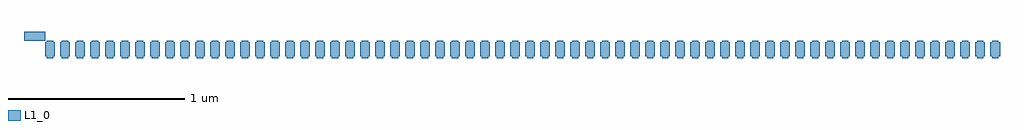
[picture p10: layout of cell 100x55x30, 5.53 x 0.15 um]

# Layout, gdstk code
import gdstk
lib = gdstk.Library(unit=1e-6, precision=1e-09)
def R(c, l, rs):  # rectangles x0, y0, x1, y1
    for r in rs: c.add(gdstk.rectangle(r[:2], r[2:], *l))
def P(c, l, *ps):  # polygons
    for p in ps: c.add(gdstk.Polygon(p, *l))
L1_0 = (1, 0)

c_100x55single = lib.new_cell('100x55single')
P(c_100x55single, L1_0, [(0,0),(0.01,0),(0.01,-0.01),(0.045,-0.01),(0.045,0),(0.055,0),(0.055,0.08),(0.045,0.08),(0.045,0.09),(0.01,0.09),(0.01,0.08),(0,0.08)])

c_100x55x30 = lib.new_cell('100x55x30')
R(c_100x55x30, L1_0, [(-0.12,0.1,0,0.15)])
r = gdstk.Reference(c_100x55single, (0,0.01)); r.repetition = gdstk.Repetition(64, 1, v1=(0.085,0), v2=(0,0)); c_100x55x30.add(r)

lib.write_gds('100x55x30.gds')
